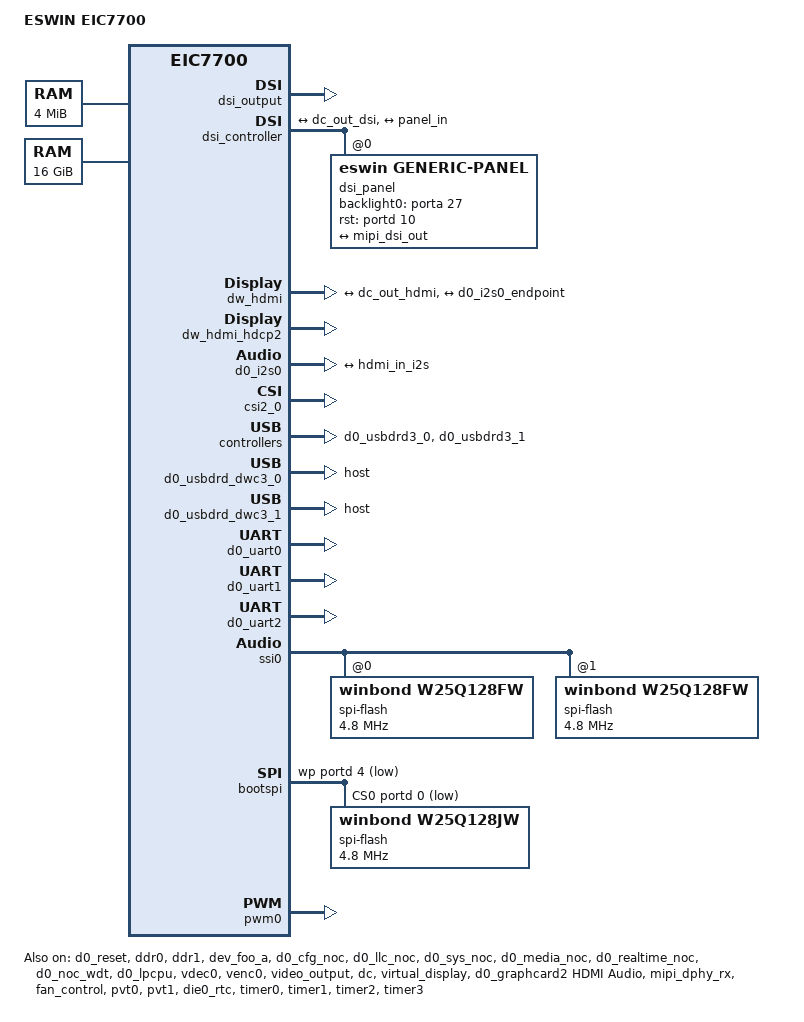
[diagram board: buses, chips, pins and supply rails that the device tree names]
// SPDX-License-Identifier: GPL-2.0
/*
 * Device Tree file for Eswin EIC7702 SoC only active die0.
 *
 * Copyright 2024, Beijing ESWIN Computing Technology Co., Ltd.. All rights reserved.
 * SPDX-License-Identifier: GPL-2.0
 *
 * This program is free software: you can redistribute it and/or modify
 * it under the terms of the GNU General Public License as published by
 * the Free Software Foundation, version 2.
 *
 * This program is distributed in the hope that it will be useful,
 * but WITHOUT ANY WARRANTY; without even the implied warranty of
 * MERCHANTABILITY or FITNESS FOR A PARTICULAR PURPOSE.  See the
 * GNU General Public License for more details.
 *
 * You should have received a copy of the GNU General Public License
 * along with this program.  If not, see <https://www.gnu.org/licenses/>.
 */

/dts-v1/;

#define RTCCLK_FREQ		1000000
#define LSPCLK_FREQ		200000000

/* If wanna enable ECC capability of DDR, should reserve highest zone of 1/8 all space for it */
#define MEMORY_SIZE_H		0x4
#define MEMORY_SIZE_L		0x0
#define CMA_SIZE		0x20000000

#include "eswin-win2030-die0-soc.dtsi"
#include "eic7700-pinctrl.dtsi"
#include <dt-bindings/interrupt-controller/irq.h>
#include <dt-bindings/gpio/gpio.h>
#include <dt-bindings/input/input.h>

/* Clock frequency (in Hz) of the PCB crystal for rtcclk */

/ {
	#address-cells = <2>;
	#size-cells = <2>;
	model = "ESWIN EIC7700";
	compatible = "sifive,hifive-unmatched-a00", "sifive,fu740-c000",
			 "sifive,fu740", "eswin,eic7700";

	aliases {
		serial0 = &d0_uart0;
		ethernet0 = &d0_gmac0;
		ethernet1 = &d0_gmac1;
		rtc0 = &die0_rtc;
	};

	chosen {
		stdout-path = "serial0:115200n8";
	};

	cpus {
		timebase-frequency = <RTCCLK_FREQ>;
	};

	memory@59000000 {
		device_type = "memory";
		reg = <0x0 0x59000000 0x0 0x400000>;
		numa-node-id = <0>;
	};

	memory@80000000 {
		device_type = "memory";
		reg = <0x0 0x80000000 MEMORY_SIZE_H MEMORY_SIZE_L>;
		numa-node-id = <0>;
	};

	reserved-memory {
		#address-cells = <2>;
		#size-cells = <2>;
		ranges;

		linux,cma {
			compatible = "shared-dma-pool";
			reusable;
			size = <0x0 CMA_SIZE>;
			alignment = <0x0 0x1000>;
			alloc-ranges = <0x0 0x80000000 MEMORY_SIZE_H MEMORY_SIZE_L>;
			linux,cma-default;
		};

		npu0_reserved: sprammemory@59000000 {
			no-map;
			reg = <0x0 0x59000000 0x0 0x400000>;
		};

		g2d_4GB_boundary_reserved_4k {
			no-map;
			reg = <0x0 0xfffff000 0x0 0x1000>;
		};

		g2d_8GB_boundary_reserved_4k {
			no-map;
			reg = <0x1 0xfffff000 0x0 0x1000>;
		};

		g2d_12GB_boundary_reserved_4k {
			no-map;
			reg = <0x2 0xfffff000 0x0 0x1000>;
		};

		mmz_nid_0_part_0 {
			compatible = "eswin-reserve-memory";
			reg = <0x3 0x0 0x1 0x10000000>;
			no-map;
		};

		rpc_reserved:rpc_reserved@410000000 {
			reg = <0x4 0x10000000 0 0x1000>;
			no-map;
		};

		commu_reserved:commu_reserved@410001000 {
			reg = <0x4 0x10001000 0 0x10000>;
			no-map;
		};

		kernel_debug_reserved:kernel_debug_reserved@410011000 {
			reg = <0x4 0x10011000 0 0x100000>;
			no-map;
		};

		pgretire_reserved:pgretire_reserved@410111000 {
			reg = <0x4 0x10111000 0 0x100000>;
			no-map;
		};

		configs_reserved:configs_reserved@410211000 {
			reg = <0x4 0x10211000 0 0x1000>;
			no-map;
		};

		ipcm_vdev0vring0:vdev0vring0@410212000 {
			reg = <0x4 0x10212000 0 0x100000>;
			no-map;
		};

		ipcm_vdev0vring1:vdev0vring1@410312000 {
			reg = <0x4 0x10312000 0 0x100000>;
			no-map;
		};

		ipcm_vdev0buffer:vdev0buffer@410412000 {
			compatible = "shared-dma-pool";
			reg = <0x4 0x10412000 0 0x4000000>; // pre is rx
			no-map;
		};

		rsc_table0:rsc_table0@414412000 {
			reg = <0x4 0x14412000 0 0x100>;
			no-map;
		};

		share_memory {
			compatible = "cambr,shm";
			#address-cells = <2>;
			#size-cells = <2>;

			phys-base = <0x4 0x14412100>;
			virt-base = <0x4 0x14412100>;
			shm-size = <0xbbedf00>;
			reg = <0x4 0x14412100 0 0xbbedf00>;
			no-map;
		};
	};

	soc {
		d0_ipcm:ipcm@0 {
			compatible = "eswin,ipcm", "simple-bus";
			#address-cells = <2>;
			#size-cells = <2>;
			vf_id = <0>;
			numa-node-id = <0>;
			memory-region = <&ipcm_vdev0vring0>,<&ipcm_vdev0vring1>,<&ipcm_vdev0buffer>;
			interrupt-parent = <&plic0>;
			interrupts = <119>;
		};

		dev_smmu_cfg: smmu_cfg@0 {
			compatible = "riscv,dev_smmu_cfg";
			#size-cells = <2>;
			dma-ranges = <0x0 0x20000000 0x0 0xc0000000 0x0 0x40000000>;
			iommus = <&smmu0 WIN2030_SID_DEV_FOO_B>;
			iommu-map = <0x000000 &smmu0 0xff0000 0xffffff>;
			tbus = <WIN2030_TBUID_PCIE>;
			status = "okay";
			numa-node-id = <0>;
			dma-noncoherent;

			smmu_cfg_0: smmu_cfg0@0 {
			};
			smmu_cfg_1: smmu_cfg1@0 {
			};
		};
	};

};

&d0_clock {
	status = "okay";
};

&d0_reset {
	status = "okay";
};

&d0_pmu {
	status = "okay";
};

&ddr0 {
	status = "okay";
};

&ddr1 {
	status = "okay";
};

&smmu0 {
	status = "okay";
};

&smmu_pmu0 {
	status = "disabled";
};

&dev_foo_a {
	status = "okay";
};

&d0_cfg_noc {
	status = "okay";
};

&d0_llc_noc {
	status = "okay";
	stat,0 = "TracePort:ddr0_p0_req";
	stat,1 = "TracePort:ddr1_p0_req";
	//latency,0 = "TracePort:llcnoc_trans_probe";
	//pending,0 = "TracePort:llcnoc_trans_probe";
};

&d0_sys_noc {
	status = "okay";

	//eswin,DSPT-qos-owner;
	//eswin,NPU-qos-owner;
	//eswin,SPISLV_TBU3-qos-owner;

	stat,0 = "TracePort:ddr0_p1_req",
		 "InitFlow:mcput_snoc_mp/I/0";

	stat,1 = "TracePort:ddr0_p2_req",
		 "InitFlow:dspt_snoc/I/0",
		 "AddrBase:0x81000000", "AddrSize:0x30",
		 "Opcode:RdWrLockUrg", "Status:ReqRsp", "Length:0x8000", "Urgency:0x0";

	stat,2 = "TracePort:ddr1_p1_req",
		 "Status:Req", "AddrSize:0x28";

	stat,3 = "TracePort:ddr1_p2_req";

	latency,0 = "TracePort:sysnoc_trans_probe_0", "AddrSize:0x0";
	latency,1 = "TracePort:sysnoc_trans_probe_1","Mode:latency","AddrBase:0x82000000","AddrSize:0x28","Opcode:RdWr";
	//latency,2 = "TracePort:sysnoc_trans_probe_2";

	//pending,0 = "TracePort:sysnoc_trans_probe_0";
	//pending,1 = "TracePort:sysnoc_trans_probe_1","Mode:latency","AddrBase:0x82000000","AddrSize:0x0","Opcode:RdWr";
	pending,0 = "TracePort:sysnoc_trans_probe_2", "AddrSize:0x3";
};

&d0_media_noc {
	status = "okay";

	//eswin,GPU-qos-owner;
	//eswin,TBU2-qos-owner;
	//eswin,VC-qos-owner;

	stat,0 = "TracePort:ddr0_p3_req";
	stat,1 = "TracePort:ddr1_p3_req";
	//latency,0 = "TracePort:mnoc_trans_probe";
	//pending,0 = "TracePort:mnoc_trans_probe";
};

&d0_realtime_noc {
	status = "okay";

	//eswin,TBU0-qos-owner;
	//eswin,VO-qos-owner;

	stat,0 = "TracePort:ddr0_p4_req";
	stat,1 = "TracePort:ddr1_p4_req";
	//latency,0 = "TracePort:rnoc_trans_probe";
	//pending,0 = "TracePort:rnoc_trans_probe";
};

&d0_noc_wdt {
	status = "okay";
};

&d0_ipc_scpu {
	status = "okay";
};

&d0_lpcpu {
	status = "okay";
};

&pcie {
	status = "disabled";
};

&d0_npu{
	status = "disabled";
};

&d0_dsp_subsys {
	status = "disabled";
};

&d0_dsp0 {
	status = "disabled";
};

&d0_dsp1 {
	status = "disabled";
};

&d0_dsp2 {
	status = "disabled";
};

&d0_dsp3 {
	status = "disabled";
};

&gpu0 {
	status = "disabled";
};

&gc820 {
	status = "disabled";
};

&vdec0 {
	status = "okay";
};

&venc0 {
	status = "okay";
};

&video_output {
	status = "okay";
};

&dc {
	status = "okay";
	dc_out: port {
		#address-cells = <1>;
		#size-cells = <0>;
		dc_out_dsi: endpoint@0 {
			reg = <0>;
			remote-endpoint = <&dsi_input>;
		};
		dc_out_dpi1: endpoint@1 {
			reg = <1>;
			remote-endpoint = <&vd_input>;
		};
		dc_out_hdmi: endpoint@2 {
			reg = <2>;
			remote-endpoint = <&hdmi_in_dc>;
		};
	};
};

&dc_test {
	status = "disabled";
};

&virtual_display {
	status = "okay";
	port {
		vd_input: endpoint {
			remote-endpoint = <&dc_out_dpi1>;
		};
	};
};

&dsi_output {
	status = "okay";
};

&dsi_controller {
	status = "okay";
	ports {
		#address-cells = <1>;
		#size-cells = <0>;
		port@0 {
			#address-cells = <1>;
			#size-cells = <0>;
			reg = <0>;
			dsi_input: endpoint {
				remote-endpoint = <&dc_out_dsi>;
			};
		};
		port@1 {
			#address-cells = <1>;
			#size-cells = <0>;
			reg = <1>;
			mipi_dsi_out: endpoint {
				remote-endpoint = <&panel_in>;
			};
		};
	};

	dsi_panel:dsi_panel@0 {
		compatible = "eswin,generic-panel";
		reg = <0>;
		dsi,format = <0>; //RGB888:0, RGB666:1, RGB565:3
		dsi,lanes = <4>;
		port {
			panel_in: endpoint {
				remote-endpoint = <&mipi_dsi_out>;
			};
		};
	};
};

&dsi_panel {
	status = "okay";
	pinctrl-names = "default";
	pinctrl-0 = <&pinctrl_gpio27_default &pinctrl_gpio106_default>;
	backlight0-gpios = <&porta 27 GPIO_ACTIVE_HIGH>;
	rst-gpios = <&portd 10 GPIO_ACTIVE_HIGH>;
};

&dw_hdmi {
	status = "okay";
	ports {
		#address-cells = <1>;
		#size-cells = <0>;
		port@0 {
			reg = <0>;
			hdmi_in_dc: endpoint@0 {
				remote-endpoint = <&dc_out_hdmi>;
			};
		};
		port@2 {
			reg = <2>;
			hdmi_in_i2s: endpoint@1 {
				system-clock-frequency = <12288000>;
				remote-endpoint = <&d0_i2s0_endpoint>;
			};
		};
	};
};

&dw_hdmi_hdcp2 {
	status = "okay";
};

&d0_i2s0 {
	status = "okay";
	d0_i2s0_port: port {
		d0_i2s0_endpoint: endpoint {
			remote-endpoint = <&hdmi_in_i2s>;
			dai-format = "i2s";
		};
	};
};

&d0_i2s1 {
	status = "disabled";
};

&d0_i2s2 {
	status = "disabled";
};

&d0_graphcard0 {
	status = "disabled";
};

&d0_graphcard1 {
	status = "disabled";
};

&d0_graphcard2 {
	status = "okay";
	label = "HDMI Audio";
	dais = <&d0_i2s0_port>;
};

&isp_0 {
	status = "disabled";
};

&isp_1 {
	status = "disabled";
};

&dewarp {
	status = "disabled";
};

&mipi_dphy_rx {
	status = "okay";
};

&csi_dma0 {
	status = "okay";
};

&csi_dma1 {
	status = "disabled";
};

&csi2_0 {
	status = "okay";
};

&csi2_1 {
	status = "disabled";
};

&sdhci_emmc {
	/* emmc */
	status = "disabled";
	delay_code = <0x17>;
	drive-impedance-ohm = <50>;
	enable-cmd-pullup;
	enable-data-pullup;
	no-sdio;
	no-sd;
};

&sdio0 {
	/* sd card */
	status = "disabled";
	delay_code = <0x55>;
	drive-impedance-ohm = <33>;
	enable-cmd-pullup;
	enable-data-pullup;
	no-sdio;
	no-mmc;
};

&sdio1 {
	/* unused */
	status = "disabled";
};

&d0_gmac0 {
	pinctrl-names = "default";
	pinctrl-0 = <&pinctrl_gpio15_default>;
	rst-gpios = <&porta 15 GPIO_ACTIVE_LOW>;
	eswin,rgmiisel = <&pinctrl 0x290 0x3>;
	eswin,led-cfgs = <0x6100 0xa40 0x420>;

	status = "disabled";
};

&d0_gmac1 {
	pinctrl-names = "default";
	pinctrl-0 = <&pinctrl_gpio14_default>;
	rst-gpios = <&porta 14 GPIO_ACTIVE_LOW>;
	eswin,rgmiisel = <&pinctrl 0x294 0x3>;
	eswin,led-cfgs = <0x6100 0xa40 0x420>;

	status = "disabled";
};

&d0_sata {
	status = "disabled";
};

&d0_usbdrd3_0 {
	status = "okay";
};

&d0_usbdrd_dwc3_0 {
	status = "okay";
	dr_mode = "host";
	maximum-speed = "super-speed";
};

&d0_usbdrd3_1 {
	status = "okay";
};

&d0_usbdrd_dwc3_1 {
	status = "okay";
	dr_mode = "host";
	maximum-speed = "super-speed";
};

&d0_dmac0 {
	status = "okay";
};

&d0_aon_dmac {
	status = "okay";
};

&d0_uart0 {
	/* debug */
	status = "okay";
};

&d0_uart1 {
	/* RS232 DB9 */
	status = "okay";
};

&d0_uart2 {
	/* pin header */
	status = "okay";
};

&d0_uart3 {
	/* unused */
	status = "disabled";
};

&d0_uart4 {
	/* unused */
	status = "disabled";
};

&ssi0 {
	/* spi flash */
	status = "okay";
	num-cs = <2>;
	spi-flash@0 {
		compatible = "winbond,w25q128fw",
					"jedec,spi-nor";
		reg = <0>;
		#address-cells = <1>;
		#size-cells = <1>;
		spi-max-frequency = <4800000>;
		rx-sample-delay-ns = <10>;
	};
	spi-flash@1 {
		compatible = "winbond,w25q128fw",
					"jedec,spi-nor";
		reg = <1>;
		#address-cells = <1>;
		#size-cells = <1>;
		spi-max-frequency = <4800000>;
		rx-sample-delay-ns = <10>;
	};
};

&ssi1 {
	/* unused */
	status = "disabled";
};

&bootspi {
	/* spi flash */
	status = "okay";
	num-cs = <1>;
	cs-gpios = <&portd 0 GPIO_ACTIVE_LOW>;
	wp-gpios = <&portd 4 GPIO_ACTIVE_LOW>;
	spi-flash@0 {
		compatible = "winbond,w25q128jw",
					"jedec,spi-nor";
		reg = <0>;
		#address-cells = <1>;
		#size-cells = <1>;
		spi-max-frequency = <4800000>;
		rx-sample-delay-ns = <10>;
	};
};

&d0_mbox0 {
	status = "okay";
};

#if 0
&d0_mbox1 {
	status = "okay";
};
#endif

&d0_mbox2 {
	status = "okay";
};

&d0_mbox3 {
	status = "okay";
};

&d0_mbox4 {
	status = "okay";
};

&d0_mbox5 {
	status = "okay";
};

&d0_mbox6 {
	status = "okay";
};

&d0_mbox7 {
	status = "okay";
};

&fan_control {
	status = "okay";
};

&d0_i2c0 {
	/* ina226x4 */
	status = "disabled";
	i2c-sda-hold-time-ns = <0x40>;
	ina226@45 {
		compatible = "ti,ina226";
		#io-channel-cells = <1>;
		label = "cpu_vdd";
		reg = <0x45>;
		shunt-resistor = <1000>;
	};
	ina226@44 {
			compatible = "ti,ina226";
			#io-channel-cells = <1>;
			label = "soc_vdd";
			reg = <0x44>;
			shunt-resistor = <1000>;
		};
	ina226@41 {
			compatible = "ti,ina226";
			#io-channel-cells = <1>;
			label = "lpddr_vdd";
			reg = <0x41>;
			shunt-resistor = <1000>;
		};
	ina226@48 {
			compatible = "ti,ina226";
			#io-channel-cells = <1>;
			label = "dc_vdd";
			reg = <0x48>;
			shunt-resistor = <1000>;
		};
};

&d0_i2c1 {
	/* NPU Power Control */
	status = "disabled";
	tps549d22@10 {
		compatible = "ti,tps549d22";
		reg = <0x10>;
		eswin,regulator_default-microvolt=<1000000>;
		label = "npu_vdd";
		regulators{
			npu_vcc1:npu_svcc{
				regulator-name="NPU_SVCC";
				regulator-min-microvolt=<700000>;
				regulator-max-microvolt=<1120000>;
				regulator-min-microamp=<20000000>;
				regulator-max-microamp=<40000000>;
				regulator-ov-protection-microvolt=<1100000>;
			};
		};
	};
};

&d0_i2c2 {
	status = "disabled";
	tmp102@48 {
		compatible = "ti,tmp102";
		reg = <0x48>;
		label = "d0_board_tmp";
		#thermal-sensor-cells = <1>;
	};
};

&d0_i2c3 {
	/* d2d serdes */
	status = "disabled";
};

&d0_i2c4 {
	/* SMBUS */
	status = "disabled";
};

&d0_i2c5 {
	/* AT24C02C EEPROM */
	status = "disabled";
	eswin,syscfg = <&d0_sys_con 0x3C0 16>;
	eeprom@50 {
		compatible = "atmel,24c02";
		reg = <0x50>;
	};
};

&d0_i2c6 {
	/* unused */
	status = "disabled";
};

&d0_i2c7 {
	/* unused */
	status = "disabled";
};

&d0_i2c8 {
	/* unused */
	status = "disabled";
};

&d0_i2c9 {
	/* unused */
	status = "disabled";
};

#if 0
&d0_i2c10 {
	/* ads1115 */
	status = "disabled";
};
#endif

&d0_aon_i2c0 {
    status = "disabled";
};

&d0_aon_i2c1 {

	status = "disabled";
};

&pwm0 {
	/* fan */
	status = "okay";
};

&pvt0 {
	status = "okay";
};

&pvt1 {
	status = "okay";
};

&wdt0 {
	status = "disabled";
};

&wdt1 {
	status = "disabled";
};

&wdt2 {
	status = "disabled";
};

&wdt3 {
	status = "disabled";
};

&die0_rtc {
	status = "okay";
};

&timer0 {
	status = "okay";
};

&timer1 {
	status = "okay";
};

&timer2 {
	status = "okay";
};

&timer3 {
	status = "okay";
};

&pinctrl {
	status = "okay";
};

/* GPIO Function Description

	gpio0   : pcie prstn(I)
	gpio11  : tmp alert(I)
	gpio13  : tf card detect(I)
	gpio14  : gphy1 resetn(O)
	gpio15  : gphy0 resetn(O)
	gpio18  : ina226 alert(I)
	gpio20  : lcd touch int(I)
	gpio21  : head phone plug/unplug detection2(I)
	gpio27  : black light pwr_en(O)
	gpio28  : head phone plug/unplug detection1(I)
	gpio68  : fan pwm(O)
	gpio69  : fan touch(I)
	gpio92  : frex gp0(O)
	gpio93  : frex gp1(O)
	gpio106 : mipi dsi resetn(O)
	gpio111 : lcd touch resetn(O)
*/

&gpio0 {
	status = "okay";
};
&dev_llc_d0{
	/* apply_npu_1G_freq; */
	npu-supply=<&npu_vcc1>;
	status = "disabled";
};
